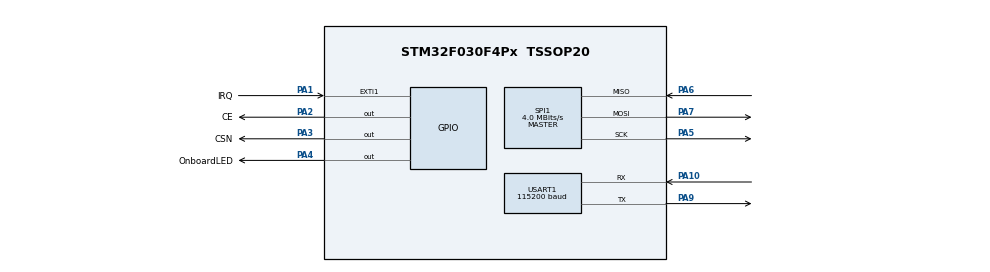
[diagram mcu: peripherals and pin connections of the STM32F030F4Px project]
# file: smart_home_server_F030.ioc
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Dma.Request0=USART1_TX
Dma.Request1=USART1_RX
Dma.USART1_RX.1.Direction=DMA_PERIPH_TO_MEMORY
Dma.USART1_RX.1.Instance=DMA1_Channel3
Dma.USART1_RX.1.MemDataAlignment=DMA_MDATAALIGN_BYTE
Dma.USART1_RX.1.MemInc=DMA_MINC_ENABLE
Dma.USART1_RX.1.Mode=DMA_NORMAL
Dma.USART1_RX.1.PeriphDataAlignment=DMA_PDATAALIGN_BYTE
Dma.USART1_RX.1.PeriphInc=DMA_PINC_DISABLE
Dma.USART1_RX.1.Priority=DMA_PRIORITY_LOW
Dma.USART1_TX.0.Direction=DMA_MEMORY_TO_PERIPH
Dma.USART1_TX.0.Instance=DMA1_Channel2
Dma.USART1_TX.0.MemDataAlignment=DMA_MDATAALIGN_BYTE
Dma.USART1_TX.0.MemInc=DMA_MINC_ENABLE
Dma.USART1_TX.0.Mode=DMA_NORMAL
Dma.USART1_TX.0.PeriphDataAlignment=DMA_PDATAALIGN_BYTE
Dma.USART1_TX.0.PeriphInc=DMA_PINC_DISABLE
Dma.USART1_TX.0.Priority=DMA_PRIORITY_LOW
Mcu.Family=STM32F0
Mcu.Name=STM32F030F4Px
Mcu.Package=TSSOP20
NVIC.DMA1_Channel2_3_IRQn=true\:1\:0\:true\:false\:true\:false\:true
NVIC.USART1_IRQn=true\:0\:0\:false\:false\:true\:true\:true
PA1.GPIO_Label=IRQ
PA1.GPIO_ModeDefaultEXTI=GPIO_MODE_IT_FALLING
PA1.Signal=GPXTI1
PA10.Mode=Asynchronous
PA10.Signal=USART1_RX
PA13.Mode=Serial_Wire
PA13.Signal=SYS_SWDIO
PA14.Mode=Serial_Wire
PA14.Signal=SYS_SWCLK
PA2.GPIO_Label=CE
PA2.Signal=GPIO_Output
PA3.GPIO_Label=CSN
PA3.Signal=GPIO_Output
PA4.GPIO_Label=OnboardLED
PA4.Signal=GPIO_Output
PA5.Mode=Full_Duplex_Master
PA5.Signal=SPI1_SCK
PA6.Mode=Full_Duplex_Master
PA6.Signal=SPI1_MISO
PA7.Mode=Full_Duplex_Master
PA7.Signal=SPI1_MOSI
PA9.Mode=Asynchronous
PA9.Signal=USART1_TX
ProjectManager.HeapSize=0x200
ProjectManager.StackSize=0x400
ProjectManager.TargetToolchain=STM32CubeIDE
SPI1.CalculateBaudRate=4.0 MBits/s
SPI1.DataSize=SPI_DATASIZE_8BIT
SPI1.Direction=SPI_DIRECTION_2LINES
SPI1.Mode=SPI_MODE_MASTER
SPI1.VirtualType=VM_MASTER
USART1.BaudRate=115200
USART1.VirtualMode-Asynchronous=VM_ASYNC
board=custom

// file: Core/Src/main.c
/* USER CODE BEGIN Header */
/**
  ******************************************************************************
  * @file           : main.c
  * @brief          : Main program body
  ******************************************************************************
  * @attention
  *
  * <h2><center>&copy; Copyright (c) 2021 STMicroelectronics.
  * All rights reserved.</center></h2>
  *
  * This software component is licensed by ST under BSD 3-Clause license,
  * the "License"; You may not use this file except in compliance with the
  * License. You may obtain a copy of the License at:
  *                        opensource.org/licenses/BSD-3-Clause
  *
  ******************************************************************************
  */
/* USER CODE END Header */
#include "main.h"

/* USER CODE BEGIN Includes */
#include <flash.h>
#include <RF24.h>
/* USER CODE END Includes */

/* USER CODE BEGIN PTD */

#pragma pack(push, 1)

typedef struct {
	uint32_t nameId;
	uint32_t uuid;  // contains type of device
} Device;

typedef struct {
	uint32_t uuid;
	uint8_t command;
	uint8_t payloadSize;
} NRFHeader;

typedef struct {
	uint16_t magic;
	uint8_t command;
	uint8_t payloadSize;
} UARTHeader;

#pragma pack(pop)

/* USER CODE END PTD */

/* USER CODE BEGIN PD */

#define RESET_DEVICES_CONFIGURATION

#define FLASH_DATA_ADDR 0x08003800

#define MAX_DEVICES_COUNT 30

#define DEVICE_UNAVAILABLE_STATE 0xFF000000

#define NRF_COMMAND_GET_STATE          0x01
#define NRF_COMMAND_RESPONSE_GET_STATE 0xF1

#define UART_HEADER_MAGIC 0xBFCE

#define UART_COMMAND_PING              0x01
#define UART_COMMAND_GET_DEVICES       0x02
#define UART_COMMAND_GET_DEVICE_STATES 0x03
#define UART_COMMAND_SEND_NRF_MESSAGE  0x04

#define UART_COMMAND_RESPONSE_PING                    0x81
#define UART_COMMAND_RESPONSE_GET_DEVICES             0x82
#define UART_COMMAND_RESPONSE_GET_DEVICE_STATES       0x83
#define UART_COMMAND_RESPONSE_SEND_NRF_MESSAGE        0x84
#define UART_COMMAND_RESPONSE_SEND_NRF_MESSAGE_FAILED 0xF4

/* USER CODE END PD */

SPI_HandleTypeDef hspi1;

UART_HandleTypeDef huart1;
DMA_HandleTypeDef hdma_usart1_tx;
DMA_HandleTypeDef hdma_usart1_rx;

/* USER CODE BEGIN PV */

uint8_t devicesCount = 0;
Device devices[MAX_DEVICES_COUNT];         // configuration
uint32_t deviceStates[MAX_DEVICES_COUNT];  // kind of a cache

uint8_t nrfTxBuf[32] = {};
NRFHeader* nrfTxHeader = (NRFHeader*)nrfTxBuf;

uint8_t nrfRxBuf[32] = {};
NRFHeader* nrfRxHeader = (NRFHeader*)nrfRxBuf;

uint8_t uartTxBuf[256] = {};
UARTHeader* uartTxHeader = (UARTHeader*)uartTxBuf;

uint8_t uartRxBuf[256] = {};
UARTHeader* uartRxHeader = (UARTHeader*)uartRxBuf;

uint8_t uartRxByte = 0;
uint8_t uartRxCurrentPos = 0;

/* USER CODE END PV */

void SystemClock_Config(void);
static void MX_GPIO_Init(void);
static void MX_DMA_Init(void);
static void MX_SPI1_Init(void);
static void MX_USART1_UART_Init(void);

/* USER CODE BEGIN 0 */

void fastBlinkForever() {
	while (1) {
		HAL_GPIO_TogglePin(OnboardLED_GPIO_Port, OnboardLED_Pin);
		for (int i = 0; i < 100000; ++i);
	}
}

void readDevicesConfiguration() {
	devicesCount = *((const volatile uint8_t*)FLASH_DATA_ADDR);
	if (devicesCount > MAX_DEVICES_COUNT) {
		// error
		fastBlinkForever();
		return;
	}
	memcpy(devices, (/*volatile*/ uint8_t*)FLASH_DATA_ADDR + 1, devicesCount * sizeof(Device));
}

bool sendNRFMessage(uint8_t writeAttempts, uint8_t readAttempts) {
	while (writeAttempts > 0) {
		write(nrfTxBuf, sizeof(NRFHeader) + nrfTxHeader->payloadSize);
		startListening();

		uint8_t readAttemptsLeft = readAttempts;
		while (readAttemptsLeft > 0) {
			HAL_Delay(50);
			uint8_t pipeId = 0;
			if (available(&pipeId)) {
				if (pipeId == 1) {
					uint8_t length = getDynamicPayloadSize();
					read(nrfRxBuf, length);
					if (length >= sizeof(NRFHeader)
							&& nrfTxHeader->uuid == nrfRxHeader->uuid
							&& sizeof(NRFHeader) + nrfRxHeader->payloadSize == length) {
						stopListening();
						return true;
					}
				}
			}
			--readAttemptsLeft;
		}

		stopListening();
		--writeAttempts;
	}
	return false;
}

void updateAllDeviceStates() {
	for (int i = 0; i < devicesCount; ++i) {
		nrfTxHeader->uuid = devices[i].uuid;
		nrfTxHeader->command = NRF_COMMAND_GET_STATE;
		nrfTxHeader->payloadSize = 0;

		if (sendNRFMessage(5, 5) && nrfRxHeader->command == NRF_COMMAND_RESPONSE_GET_STATE && nrfRxHeader->payloadSize == 4) {
			deviceStates[i] = *((uint32_t*)(nrfRxBuf + sizeof(NRFHeader)));
		} else {
			deviceStates[i] = DEVICE_UNAVAILABLE_STATE;
		}
	}
}

void sendUartTxMessage() {
	HAL_UART_Transmit_DMA(&huart1, uartTxBuf, sizeof(UARTHeader) + uartTxHeader->payloadSize);
}

void handleUartPing() {
	uartTxHeader->magic = UART_HEADER_MAGIC;
	uartTxHeader->command = UART_COMMAND_RESPONSE_PING;
	uartTxHeader->payloadSize = uartRxHeader->payloadSize;
	for (int i = sizeof(UARTHeader); i < sizeof(UARTHeader) + uartRxHeader->payloadSize; ++i) {
		uartTxBuf[i] = ~uartRxBuf[i];
	}
	sendUartTxMessage();
}

void handleUartGetDevices() {
	uartTxHeader->magic = UART_HEADER_MAGIC;
	uartTxHeader->command = UART_COMMAND_RESPONSE_GET_DEVICES;
	uartTxHeader->payloadSize = devicesCount * sizeof(Device);
	memcpy(uartTxBuf + sizeof(UARTHeader), devices, uartTxHeader->payloadSize);
	sendUartTxMessage();
}

void handleUartGetDeviceStates() {
	uartTxHeader->magic = UART_HEADER_MAGIC;
	uartTxHeader->command = UART_COMMAND_RESPONSE_GET_DEVICE_STATES;
	uartTxHeader->payloadSize = devicesCount * sizeof(uint32_t);
	memcpy(uartTxBuf + sizeof(UARTHeader), deviceStates, uartTxHeader->payloadSize);
	sendUartTxMessage();
}

void handleUartSendNRFMessage() {
	// Payload in UART message is NRF message completely
	memcpy(nrfTxBuf, uartRxBuf + sizeof(UARTHeader), uartRxHeader->payloadSize);

	uartTxHeader->magic = UART_HEADER_MAGIC;
	if (sendNRFMessage(5, 5)) {
		uartTxHeader->command = UART_COMMAND_RESPONSE_SEND_NRF_MESSAGE;
		uartTxHeader->payloadSize = sizeof(NRFHeader) + nrfRxHeader->payloadSize;
		memcpy(uartTxBuf + sizeof(UARTHeader), nrfRxBuf, uartTxHeader->payloadSize);
	} else {
		uartTxHeader->command = UART_COMMAND_RESPONSE_SEND_NRF_MESSAGE_FAILED;
		uartTxHeader->payloadSize = 0;
	}
	sendUartTxMessage();

	// If NRF message has device state update, than update it in our "cache"
	if (nrfRxHeader->command == NRF_COMMAND_RESPONSE_GET_STATE && nrfRxHeader->payloadSize == 4) {
		for (int i = 0; i < devicesCount; ++i) {
			if (devices[i].uuid == nrfRxHeader->uuid) {
				deviceStates[i] = *((uint32_t*)(nrfRxBuf + sizeof(NRFHeader)));
				break;
			}
		}
	}
}

void handleUartMessage() {
	switch (uartRxHeader->command) {
		case UART_COMMAND_PING:
			handleUartPing();
			break;
		case UART_COMMAND_GET_DEVICES:
			handleUartGetDevices();
			break;
		case UART_COMMAND_GET_DEVICE_STATES:
			handleUartGetDeviceStates();
			break;
		case UART_COMMAND_SEND_NRF_MESSAGE:
			handleUartSendNRFMessage();
			break;
	}
}

void HAL_UART_TxCpltCallback(UART_HandleTypeDef* huart) {
	if (huart != &huart1) return;

	HAL_GPIO_TogglePin(OnboardLED_GPIO_Port, OnboardLED_Pin);
}

// Handle receiving one byte uartRxByte
void HAL_UART_RxCpltCallback(UART_HandleTypeDef* huart) {
	if (huart != &huart1) return;

	if (uartRxHeader->magic != UART_HEADER_MAGIC) {
		uartRxBuf[0] = uartRxBuf[1];
		uartRxBuf[1] = uartRxByte;
		uartRxCurrentPos = 2;
	} else {
		uartRxBuf[uartRxCurrentPos++] = uartRxByte;
		if (uartRxCurrentPos == sizeof(UARTHeader) + uartRxHeader->payloadSize) {  // message ready
			handleUartMessage();
			uartRxCurrentPos = 0;
		}
	}

	HAL_UART_Receive_DMA(&huart1, &uartRxByte, 1);
}

/* USER CODE END 0 */

int main(void)
{

  /* MCU Configuration--------------------------------------------------------*/

  /* Reset of all peripherals, Initializes the Flash interface and the Systick. */
  HAL_Init();

  /* Configure the system clock */
  SystemClock_Config();

  /* Initialize all configured peripherals */
  MX_GPIO_Init();
  MX_DMA_Init();
  MX_SPI1_Init();
  MX_USART1_UART_Init();
  /* USER CODE BEGIN 2 */

  flashUnlock();
#ifdef RESET_DEVICES_CONFIGURATION
  uint8_t zeros[2] = {0x00, 0x00};
  flashErase(FLASH_DATA_ADDR);
  flashWriteBegin();
  flashWrite(zeros, FLASH_DATA_ADDR, 2);
  flashWriteEnd();
#endif
  readDevicesConfiguration();

  isChipConnected();  // not checking result because it is often wrong
  NRF_Init();
  setPALevel(RF24_PA_MAX);
  setDataRate(RF24_1MBPS);
  setAddressWidth(5);
  enableDynamicPayloads();
  setAutoAck(true);
  setChannel(103);

  openWritingPipe(0xA83C70FD6BLL);
  openReadingPipe(1, 0xA83C70FD6CLL);
  stopListening();

  updateAllDeviceStates();

  HAL_UART_Receive_DMA(&huart1, &uartRxByte, 1);

  /* USER CODE END 2 */

  /* Infinite loop */
  while (1)
  {

  }
}

void SystemClock_Config(void)
{
  RCC_OscInitTypeDef RCC_OscInitStruct = {0};
  RCC_ClkInitTypeDef RCC_ClkInitStruct = {0};
  RCC_PeriphCLKInitTypeDef PeriphClkInit = {0};

  /** Initializes the RCC Oscillators according to the specified parameters
  * in the RCC_OscInitTypeDef structure.
  */
  RCC_OscInitStruct.OscillatorType = RCC_OSCILLATORTYPE_HSI;
  RCC_OscInitStruct.HSIState = RCC_HSI_ON;
  RCC_OscInitStruct.HSICalibrationValue = RCC_HSICALIBRATION_DEFAULT;
  RCC_OscInitStruct.PLL.PLLState = RCC_PLL_NONE;
  if (HAL_RCC_OscConfig(&RCC_OscInitStruct) != HAL_OK)
  {
    Error_Handler();
  }
  /** Initializes the CPU, AHB and APB buses clocks
  */
  RCC_ClkInitStruct.ClockType = RCC_CLOCKTYPE_HCLK|RCC_CLOCKTYPE_SYSCLK
                              |RCC_CLOCKTYPE_PCLK1;
  RCC_ClkInitStruct.SYSCLKSource = RCC_SYSCLKSOURCE_HSI;
  RCC_ClkInitStruct.AHBCLKDivider = RCC_SYSCLK_DIV1;
  RCC_ClkInitStruct.APB1CLKDivider = RCC_HCLK_DIV1;

  if (HAL_RCC_ClockConfig(&RCC_ClkInitStruct, FLASH_LATENCY_0) != HAL_OK)
  {
    Error_Handler();
  }
  PeriphClkInit.PeriphClockSelection = RCC_PERIPHCLK_USART1;
  PeriphClkInit.Usart1ClockSelection = RCC_USART1CLKSOURCE_PCLK1;
  if (HAL_RCCEx_PeriphCLKConfig(&PeriphClkInit) != HAL_OK)
  {
    Error_Handler();
  }
}

static void MX_SPI1_Init(void)
{

  /* SPI1 parameter configuration*/
  hspi1.Instance = SPI1;
  hspi1.Init.Mode = SPI_MODE_MASTER;
  hspi1.Init.Direction = SPI_DIRECTION_2LINES;
  hspi1.Init.DataSize = SPI_DATASIZE_8BIT;
  hspi1.Init.CLKPolarity = SPI_POLARITY_LOW;
  hspi1.Init.CLKPhase = SPI_PHASE_1EDGE;
  hspi1.Init.NSS = SPI_NSS_SOFT;
  hspi1.Init.BaudRatePrescaler = SPI_BAUDRATEPRESCALER_2;
  hspi1.Init.FirstBit = SPI_FIRSTBIT_MSB;
  hspi1.Init.TIMode = SPI_TIMODE_DISABLE;
  hspi1.Init.CRCCalculation = SPI_CRCCALCULATION_DISABLE;
  hspi1.Init.CRCPolynomial = 7;
  hspi1.Init.CRCLength = SPI_CRC_LENGTH_DATASIZE;
  hspi1.Init.NSSPMode = SPI_NSS_PULSE_ENABLE;
  if (HAL_SPI_Init(&hspi1) != HAL_OK)
  {
    Error_Handler();
  }

}

static void MX_USART1_UART_Init(void)
{

  huart1.Instance = USART1;
  huart1.Init.BaudRate = 115200;
  huart1.Init.WordLength = UART_WORDLENGTH_8B;
  huart1.Init.StopBits = UART_STOPBITS_1;
  huart1.Init.Parity = UART_PARITY_NONE;
  huart1.Init.Mode = UART_MODE_TX_RX;
  huart1.Init.HwFlowCtl = UART_HWCONTROL_NONE;
  huart1.Init.OverSampling = UART_OVERSAMPLING_16;
  huart1.Init.OneBitSampling = UART_ONE_BIT_SAMPLE_DISABLE;
  huart1.AdvancedInit.AdvFeatureInit = UART_ADVFEATURE_NO_INIT;
  if (HAL_UART_Init(&huart1) != HAL_OK)
  {
    Error_Handler();
  }

}

static void MX_DMA_Init(void)
{

  /* DMA controller clock enable */
  __HAL_RCC_DMA1_CLK_ENABLE();

  /* DMA interrupt init */
  /* DMA1_Channel2_3_IRQn interrupt configuration */
  HAL_NVIC_SetPriority(DMA1_Channel2_3_IRQn, 1, 0);
  HAL_NVIC_EnableIRQ(DMA1_Channel2_3_IRQn);

}

static void MX_GPIO_Init(void)
{
  GPIO_InitTypeDef GPIO_InitStruct = {0};

  /* GPIO Ports Clock Enable */
  __HAL_RCC_GPIOA_CLK_ENABLE();

  /*Configure GPIO pin Output Level */
  HAL_GPIO_WritePin(GPIOA, CE_Pin|CSN_Pin|OnboardLED_Pin, GPIO_PIN_RESET);

  /*Configure GPIO pin : IRQ_Pin */
  GPIO_InitStruct.Pin = IRQ_Pin;
  GPIO_InitStruct.Mode = GPIO_MODE_IT_FALLING;
  GPIO_InitStruct.Pull = GPIO_NOPULL;
  HAL_GPIO_Init(IRQ_GPIO_Port, &GPIO_InitStruct);

  /*Configure GPIO pins : CE_Pin CSN_Pin OnboardLED_Pin */
  GPIO_InitStruct.Pin = CE_Pin|CSN_Pin|OnboardLED_Pin;
  GPIO_InitStruct.Mode = GPIO_MODE_OUTPUT_PP;
  GPIO_InitStruct.Pull = GPIO_NOPULL;
  GPIO_InitStruct.Speed = GPIO_SPEED_FREQ_LOW;
  HAL_GPIO_Init(GPIOA, &GPIO_InitStruct);

}

void Error_Handler(void)
{
  __disable_irq();
  while (1)
  {
  }
}

/************************ (C) COPYRIGHT STMicroelectronics *****END OF FILE****/
